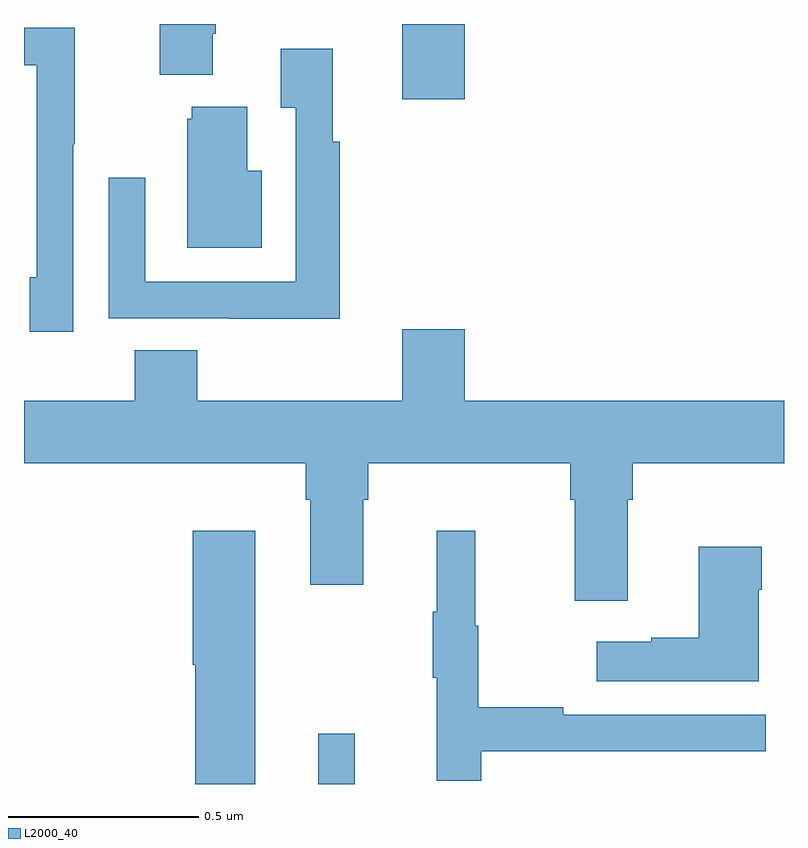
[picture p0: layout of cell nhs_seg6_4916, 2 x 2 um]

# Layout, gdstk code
import gdstk
lib = gdstk.Library(unit=1e-6, precision=1e-09)
def R(c, l, rs):  # rectangles x0, y0, x1, y1
    for r in rs: c.add(gdstk.rectangle(r[:2], r[2:], *l))
def P(c, l, *ps):  # polygons
    for p in ps: c.add(gdstk.Polygon(p, *l))
L2000_40 = (2000, 40)

nhs_seg6_4916 = lib.new_cell('nhs_seg6_4916')
R(nhs_seg6_4916, L2000_40, [(176.774,938.5,176.871,938.632), (176.996,940.302,177.16,940.5)])
P(nhs_seg6_4916, L2000_40, [(176.497,940.474),(176.505,940.474),(176.505,940.5),(176.357,940.5),(176.357,940.367),(176.497,940.367)],
  [(176.13,940.183),(176.133,940.183),(176.133,940.49),(176,940.49),(176,940.392),(176.034,940.392),(176.034,939.834),(176.015,939.834),(176.015,939.69),(176.13,939.69)],
  [(176.831,940.19),(176.813,940.19),(176.813,940.435),(176.675,940.435),(176.675,940.279),(176.715,940.279),(176.715,939.822),(176.319,939.822),(176.319,940.096),(176.223,940.096),(176.223,939.726),(176.539,939.726),(176.539,939.725),(176.831,939.725)],
  [(176.626,940.114),(176.587,940.114),(176.587,940.282),(176.441,940.282),(176.441,940.251),(176.429,940.251),(176.429,939.911),(176.626,939.911)],
  [(177.589,939.248),(177.602,939.248),(177.602,939.344),(178,939.344),(178,939.508),(177.16,939.508),(177.16,939.697),(176.996,939.697),(176.996,939.508),(176.456,939.508),(176.456,939.641),(176.291,939.641),(176.291,939.508),(176,939.508),(176,939.344),(176.741,939.344),(176.741,939.248),(176.753,939.248),(176.753,939.024),(176.893,939.024),(176.893,939.248),(176.906,939.248),(176.906,939.344),(177.437,939.344),(177.437,939.248),(177.449,939.248),(177.449,938.982),(177.589,938.982)],
  [(177.203,938.586),(177.952,938.586),(177.952,938.682),(177.419,938.682),(177.419,938.702),(177.196,938.702),(177.196,938.916),(177.188,938.916),(177.188,939.166),(177.086,939.166),(177.086,938.953),(177.075,938.953),(177.075,938.779),(177.086,938.779),(177.086,938.508),(177.203,938.508)],
  [(176.608,939.166),(176.444,939.166),(176.444,938.814),(176.45,938.814),(176.45,938.5),(176.608,938.5)],
  [(177.934,939.011),(177.942,939.011),(177.942,939.124),(177.776,939.124),(177.776,938.885),(177.65,938.885),(177.65,938.875),(177.507,938.875),(177.507,938.771),(177.934,938.771)])

lib.write_gds('nhs_seg6_4916.gds')
